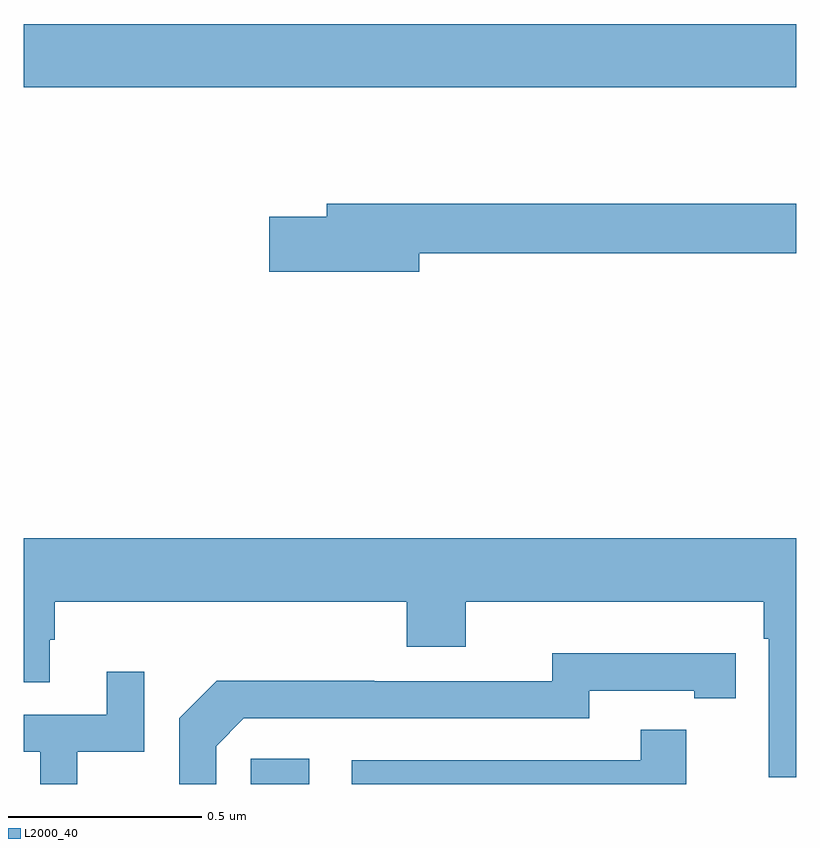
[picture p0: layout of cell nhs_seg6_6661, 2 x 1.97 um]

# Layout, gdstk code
import gdstk
lib = gdstk.Library(unit=1e-6, precision=1e-09)
def R(c, l, rs):  # rectangles x0, y0, x1, y1
    for r in rs: c.add(gdstk.rectangle(r[:2], r[2:], *l))
def P(c, l, *ps):  # polygons
    for p in ps: c.add(gdstk.Polygon(p, *l))
L2000_40 = (2000, 40)

nhs_seg6_6661 = lib.new_cell('nhs_seg6_6661')
R(nhs_seg6_6661, L2000_40, [(198.588,977.5,198.739,977.566), (198,979.304,200,979.468)])
P(nhs_seg6_6661, L2000_40, [(199.024,978.874),(200,978.874),(200,979.003),(198.785,979.003),(198.785,978.969),(198.636,978.969),(198.636,978.827),(199.024,978.827)],
  [(200,978.136),(198,978.136),(198,977.764),(198.067,977.764),(198.067,977.874),(198.08,977.874),(198.08,977.972),(198.992,977.972),(198.992,977.855),(199.144,977.855),(199.144,977.972),(199.916,977.972),(199.916,977.876),(199.929,977.876),(199.929,977.517),(200,977.517)],
  [(198.498,977.598),(198.57,977.67),(199.464,977.67),(199.464,977.742),(199.736,977.742),(199.736,977.722),(199.844,977.722),(199.844,977.838),(199.736,977.838),(199.736,977.839),(199.368,977.839),(199.368,977.766),(198.908,977.766),(198.908,977.768),(198.5,977.768),(198.402,977.67),(198.402,977.5),(198.498,977.5)],
  [(198.138,977.583),(198.312,977.583),(198.312,977.791),(198.215,977.791),(198.215,977.679),(198,977.679),(198,977.583),(198.042,977.583),(198.042,977.5),(198.138,977.5)],
  [(199.715,977.641),(199.597,977.641),(199.597,977.562),(198.849,977.562),(198.849,977.5),(199.715,977.5)])

lib.write_gds('nhs_seg6_6661.gds')
